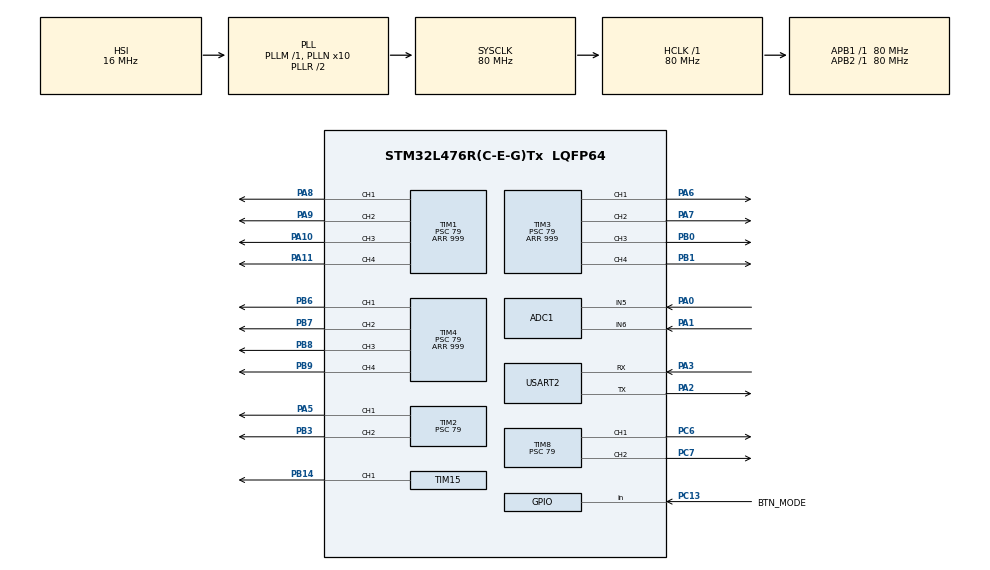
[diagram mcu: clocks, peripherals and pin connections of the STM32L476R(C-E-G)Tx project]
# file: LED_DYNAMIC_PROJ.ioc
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ADC1.Channel-0\#ChannelRegularConversion=ADC_CHANNEL_5
ADC1.ContinuousConvMode=ENABLE
ADC1.DMAContinuousRequests=ENABLE
ADC1.NbrOfConversionFlag=1
ADC1.OffsetNumber-0\#ChannelRegularConversion=ADC_OFFSET_NONE
ADC1.Rank-0\#ChannelRegularConversion=1
ADC1.SamplingTime-0\#ChannelRegularConversion=ADC_SAMPLETIME_2CYCLES_5
ADC1.master=1
Dma.ADC1.0.Direction=DMA_PERIPH_TO_MEMORY
Dma.ADC1.0.Instance=DMA1_Channel1
Dma.ADC1.0.MemDataAlignment=DMA_MDATAALIGN_HALFWORD
Dma.ADC1.0.MemInc=DMA_MINC_ENABLE
Dma.ADC1.0.Mode=DMA_NORMAL
Dma.ADC1.0.PeriphDataAlignment=DMA_PDATAALIGN_HALFWORD
Dma.ADC1.0.PeriphInc=DMA_PINC_DISABLE
Dma.ADC1.0.Priority=DMA_PRIORITY_LOW
Dma.Request0=ADC1
Mcu.Family=STM32L4
Mcu.Name=STM32L476R(C-E-G)Tx
Mcu.Package=LQFP64
NVIC.DMA1_Channel1_IRQn=true\:0\:0\:false\:false\:true\:false\:true\:true
NVIC.PriorityGroup=NVIC_PRIORITYGROUP_4
NVIC.USART2_IRQn=true\:0\:0\:false\:false\:true\:true\:true\:true
PA0.Signal=ADCx_IN5
PA1.Signal=ADCx_IN6
PA10.Signal=S_TIM1_CH3
PA11.Signal=S_TIM1_CH4
PA2.Mode=Asynchronous
PA2.Signal=USART2_TX
PA3.Mode=Asynchronous
PA3.Signal=USART2_RX
PA5.Signal=S_TIM2_CH1
PA6.Signal=S_TIM3_CH1
PA7.Signal=S_TIM3_CH2
PA8.Signal=S_TIM1_CH1
PA9.Signal=S_TIM1_CH2
PB0.Signal=S_TIM3_CH3
PB1.Signal=S_TIM3_CH4
PB14.Signal=S_TIM15_CH1
PB3\ (JTDO-TRACESWO).Signal=S_TIM2_CH2
PB6.Signal=S_TIM4_CH1
PB7.Signal=S_TIM4_CH2
PB8.Signal=S_TIM4_CH3
PB9.Signal=S_TIM4_CH4
PC13.GPIO_Label=BTN_MODE
PC13.GPIO_PuPd=GPIO_PULLUP
PC13.Signal=GPIO_Input
PC6.Signal=S_TIM8_CH1
PC7.Signal=S_TIM8_CH2
ProjectManager.HeapSize=0x200
ProjectManager.StackSize=0x400
ProjectManager.TargetToolchain=STM32CubeIDE
RCC.ADCFreq_Value=64000000
RCC.AHBFreq_Value=80000000
RCC.APB1Freq_Value=80000000
RCC.APB1TimFreq_Value=80000000
RCC.APB2Freq_Value=80000000
RCC.APB2TimFreq_Value=80000000
RCC.CortexFreq_Value=80000000
RCC.HCLKFreq_Value=80000000
RCC.HSE_VALUE=8000000
RCC.HSI_VALUE=16000000
RCC.LSE_VALUE=32768
RCC.MSI_VALUE=4000000
RCC.PLLN=10
RCC.PLLSourceVirtual=RCC_PLLSOURCE_HSI
RCC.SYSCLKFreq_VALUE=80000000
RCC.SYSCLKSource=RCC_SYSCLKSOURCE_PLLCLK
RCC.USBFreq_Value=64000000
RCC.VCOOutputFreq_Value=160000000
SH.ADCx_IN5.0=ADC1_IN5,IN5-Single-Ended
SH.ADCx_IN6.0=ADC1_IN6,IN6-Single-Ended
SH.S_TIM15_CH1.0=TIM15_CH1,PWM Generation1 CH1
SH.S_TIM1_CH1.0=TIM1_CH1,PWM Generation1 CH1
SH.S_TIM1_CH2.0=TIM1_CH2,PWM Generation2 CH2
SH.S_TIM1_CH3.0=TIM1_CH3,PWM Generation3 CH3
SH.S_TIM1_CH4.0=TIM1_CH4,PWM Generation4 CH4
SH.S_TIM2_CH1.0=TIM2_CH1,PWM Generation1 CH1
SH.S_TIM2_CH2.0=TIM2_CH2,PWM Generation2 CH2
SH.S_TIM3_CH1.0=TIM3_CH1,PWM Generation1 CH1
SH.S_TIM3_CH2.0=TIM3_CH2,PWM Generation2 CH2
SH.S_TIM3_CH3.0=TIM3_CH3,PWM Generation3 CH3
SH.S_TIM3_CH4.0=TIM3_CH4,PWM Generation4 CH4
SH.S_TIM4_CH1.0=TIM4_CH1,PWM Generation1 CH1
SH.S_TIM4_CH2.0=TIM4_CH2,PWM Generation2 CH2
SH.S_TIM4_CH3.0=TIM4_CH3,PWM Generation3 CH3
SH.S_TIM4_CH4.0=TIM4_CH4,PWM Generation4 CH4
SH.S_TIM8_CH1.0=TIM8_CH1,PWM Generation1 CH1
SH.S_TIM8_CH2.0=TIM8_CH2,PWM Generation2 CH2
TIM1.Channel-PWM\ Generation1\ CH1=TIM_CHANNEL_1
TIM1.Channel-PWM\ Generation2\ CH2=TIM_CHANNEL_2
TIM1.Channel-PWM\ Generation3\ CH3=TIM_CHANNEL_3
TIM1.Channel-PWM\ Generation4\ CH4=TIM_CHANNEL_4
TIM1.Period=999
TIM1.Prescaler=79
TIM15.Channel-PWM\ Generation1\ CH1=TIM_CHANNEL_1
TIM15.Period=999
TIM15.Prescaler=79
TIM2.Channel-PWM\ Generation1\ CH1=TIM_CHANNEL_1
TIM2.Channel-PWM\ Generation2\ CH2=TIM_CHANNEL_2
TIM2.Period=999
TIM2.Prescaler=79
TIM3.Channel-PWM\ Generation1\ CH1=TIM_CHANNEL_1
TIM3.Channel-PWM\ Generation2\ CH2=TIM_CHANNEL_2
TIM3.Channel-PWM\ Generation3\ CH3=TIM_CHANNEL_3
TIM3.Channel-PWM\ Generation4\ CH4=TIM_CHANNEL_4
TIM3.Period=999
TIM3.Prescaler=79
TIM4.Channel-PWM\ Generation1\ CH1=TIM_CHANNEL_1
TIM4.Channel-PWM\ Generation2\ CH2=TIM_CHANNEL_2
TIM4.Channel-PWM\ Generation3\ CH3=TIM_CHANNEL_3
TIM4.Channel-PWM\ Generation4\ CH4=TIM_CHANNEL_4
TIM4.Period=999
TIM4.Prescaler=79
TIM8.Channel-PWM\ Generation1\ CH1=TIM_CHANNEL_1
TIM8.Channel-PWM\ Generation2\ CH2=TIM_CHANNEL_2
TIM8.Period=999
TIM8.Prescaler=79
USART2.VirtualMode-Asynchronous=VM_ASYNC
board=custom

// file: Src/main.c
/* USER CODE BEGIN Header */
/**
  ******************************************************************************
  * @file           : main.c
  * @brief          : Main program body
  ******************************************************************************
  * @attention
  *
  * Copyright (c) 2026 STMicroelectronics.
  * All rights reserved.
  *
  * This software is licensed under terms that can be found in the LICENSE file
  * in the root directory of this software component.
  * If no LICENSE file comes with this software, it is provided AS-IS.
  *
  ******************************************************************************
  */
/* USER CODE END Header */
#include "main.h"
#include "adc.h"
#include "dma.h"
#include "tim.h"
#include "usart.h"
#include "gpio.h"

/* USER CODE BEGIN Includes */
#include "led_pwm.h"
#include "adc_knob.h"
#include "patterns.h"
#include "diag_uart.h"
/* USER CODE END Includes */

/* USER CODE BEGIN PV */
volatile uint8_t debug_btn_state = 0;
/* USER CODE END PV */

void SystemClock_Config(void);

int main(void)
{

  /* MCU Configuration--------------------------------------------------------*/

  /* Reset of all peripherals, Initializes the Flash interface and the Systick. */
  HAL_Init();

  /* Configure the system clock */
  SystemClock_Config();

  /* Initialize all configured peripherals */
  MX_GPIO_Init();
  MX_DMA_Init();
  MX_ADC1_Init();
  MX_TIM1_Init();
  MX_TIM2_Init();
  MX_TIM3_Init();
  MX_TIM4_Init();
  MX_USART2_UART_Init();
  MX_TIM8_Init();
  MX_TIM15_Init();
  /* USER CODE BEGIN 2 */

  LED_PWM_Init();
  CLI_Init();
  uint32_t last_btn_tick = 0;
    GPIO_PinState last_btn_state = GPIO_PIN_RESET; // Reset pentru butonul de pe placă (Activ HIGH)
    uint32_t last_demo_tick = 0;

  /* USER CODE END 2 */

  /* Infinite loop */
  /* USER CODE BEGIN WHILE */
    while (1)
    {
        ADC_Knob_Update();

        CLI_Process();

        /*LOGICA DEMO*/
        if (demo_mode == 1) {
            if (HAL_GetTick() - last_demo_tick >= 5000) {
                last_demo_tick = HAL_GetTick();

                active_pattern++;
                if (active_pattern > PATTERN_WAVE) {
                    active_pattern = PATTERN_CHASER;
                }
            }
        }

        /* LOGICA BUTON FIZIC  */
        GPIO_PinState current_btn_state = HAL_GPIO_ReadPin(BTN_MODE_GPIO_Port, BTN_MODE_Pin);
        if (current_btn_state == GPIO_PIN_SET && last_btn_state == GPIO_PIN_RESET)
        {
            if (HAL_GetTick() - last_btn_tick > 50)
            {
                last_btn_tick = HAL_GetTick();

                // Apasare buton -> mod manual fortat
                demo_mode = 0;

                active_pattern++;
                if (active_pattern > PATTERN_WAVE) {
                    active_pattern = PATTERN_CHASER;
                }
            }
        }
        last_btn_state = current_btn_state;

        Patterns_Update();
    }
    /* USER CODE END WHILE */

  }

void SystemClock_Config(void)
{
  RCC_OscInitTypeDef RCC_OscInitStruct = {0};
  RCC_ClkInitTypeDef RCC_ClkInitStruct = {0};

  /** Configure the main internal regulator output voltage
  */
  if (HAL_PWREx_ControlVoltageScaling(PWR_REGULATOR_VOLTAGE_SCALE1) != HAL_OK)
  {
    Error_Handler();
  }

  /** Initializes the RCC Oscillators according to the specified parameters
  * in the RCC_OscInitTypeDef structure.
  */
  RCC_OscInitStruct.OscillatorType = RCC_OSCILLATORTYPE_HSI;
  RCC_OscInitStruct.HSIState = RCC_HSI_ON;
  RCC_OscInitStruct.HSICalibrationValue = RCC_HSICALIBRATION_DEFAULT;
  RCC_OscInitStruct.PLL.PLLState = RCC_PLL_ON;
  RCC_OscInitStruct.PLL.PLLSource = RCC_PLLSOURCE_HSI;
  RCC_OscInitStruct.PLL.PLLM = 1;
  RCC_OscInitStruct.PLL.PLLN = 10;
  RCC_OscInitStruct.PLL.PLLP = RCC_PLLP_DIV7;
  RCC_OscInitStruct.PLL.PLLQ = RCC_PLLQ_DIV2;
  RCC_OscInitStruct.PLL.PLLR = RCC_PLLR_DIV2;
  if (HAL_RCC_OscConfig(&RCC_OscInitStruct) != HAL_OK)
  {
    Error_Handler();
  }

  /** Initializes the CPU, AHB and APB buses clocks
  */
  RCC_ClkInitStruct.ClockType = RCC_CLOCKTYPE_HCLK|RCC_CLOCKTYPE_SYSCLK
                              |RCC_CLOCKTYPE_PCLK1|RCC_CLOCKTYPE_PCLK2;
  RCC_ClkInitStruct.SYSCLKSource = RCC_SYSCLKSOURCE_PLLCLK;
  RCC_ClkInitStruct.AHBCLKDivider = RCC_SYSCLK_DIV1;
  RCC_ClkInitStruct.APB1CLKDivider = RCC_HCLK_DIV1;
  RCC_ClkInitStruct.APB2CLKDivider = RCC_HCLK_DIV1;

  if (HAL_RCC_ClockConfig(&RCC_ClkInitStruct, FLASH_LATENCY_4) != HAL_OK)
  {
    Error_Handler();
  }
}

void Error_Handler(void)
{
  __disable_irq();
  while (1)
  {
  }
}
